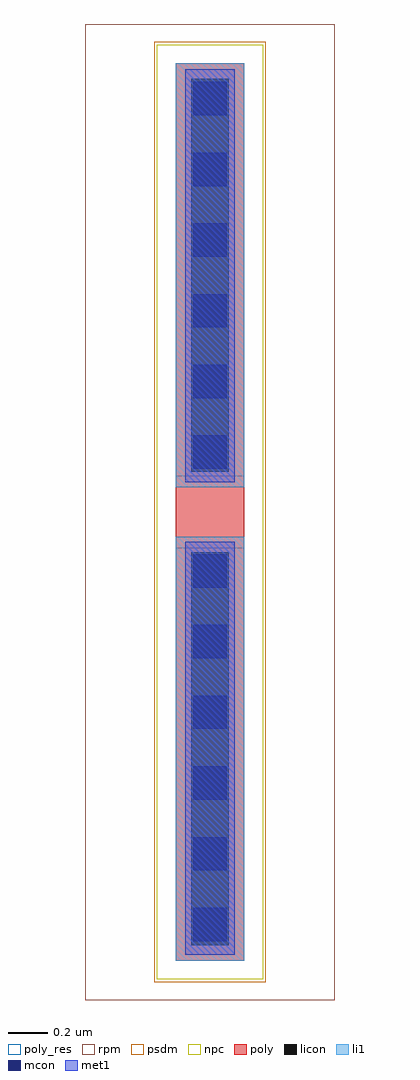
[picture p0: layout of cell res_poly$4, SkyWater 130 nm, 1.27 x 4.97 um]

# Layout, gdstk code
import gdstk
lib = gdstk.Library(unit=1e-6, precision=1e-09)
def R(c, l, rs):  # rectangles x0, y0, x1, y1
    for r in rs: c.add(gdstk.rectangle(r[:2], r[2:], *l))
def A(c, l, x, y, w, h, nx, ny, dx, dy):  # array of equal rectangles
    R(c, l, [(x+i*dx, y+j*dy, x+i*dx+w, y+j*dy+h) for i in range(nx) for j in range(ny)])
poly_res = (66, 13)
poly = (66, 20)
licon = (66, 44)
li1 = (67, 20)
mcon = (67, 44)
met1 = (68, 20)
rpm = (86, 20)
psdm = (94, 20)
npc = (95, 20)

res_poly_4 = lib.new_cell('res_poly$4')
R(res_poly_4, poly_res, [(-0.175,-0.185,0.175,0.185)])
R(res_poly_4, poly, [(-0.175,-2.285,0.175,2.285)])
R(res_poly_4, licon, [(-0.095,-2.205,0.095,-0.205), (-0.095,0.205,0.095,2.205)])
R(res_poly_4, li1, [(-0.175,-2.285,0.175,-0.125), (-0.175,0.125,0.175,2.285)])
A(res_poly_4, mcon, -0.085, -2.185, 0.17, 0.17, 1, 6, 0, 0.36)
A(res_poly_4, mcon, -0.085, 0.22, 0.17, 0.17, 1, 6, 0, 0.36)
R(res_poly_4, met1, [(-0.125,-2.255,0.125,-0.151), (-0.125,0.151,0.125,2.255)])
R(res_poly_4, rpm, [(-0.635,-2.485,0.635,2.485)])
R(res_poly_4, psdm, [(-0.285,-2.395,0.285,2.395)])
R(res_poly_4, npc, [(-0.27,-2.38,0.27,2.38)])

lib.write_gds('res_poly_4.gds')
